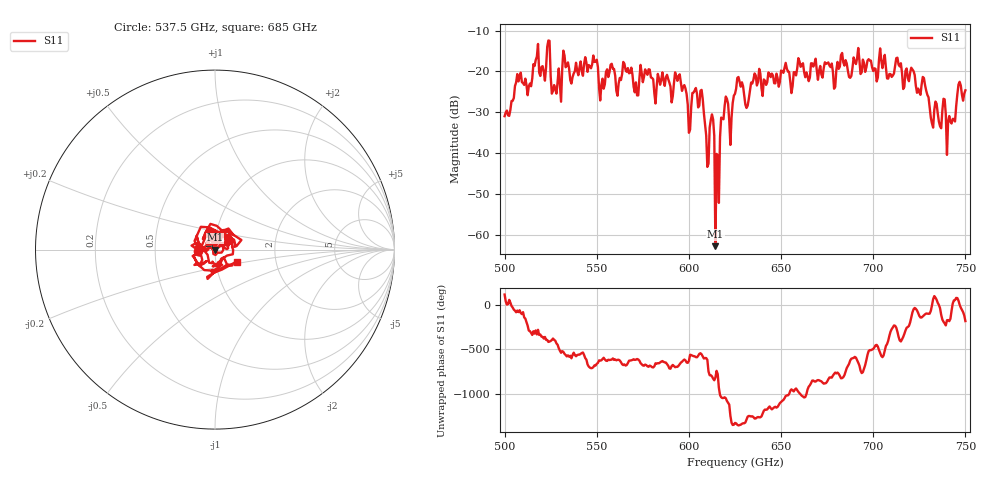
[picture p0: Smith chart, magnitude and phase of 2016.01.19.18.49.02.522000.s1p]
!Created with skrf (http://scikit-rf.org).
# GHz S RI R 50.0
!freq ReS11 ImS11
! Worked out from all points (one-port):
!   401 points, 500 GHz to 750 GHz, reference 50 ohm
!   lowest |S11| = -62.6 dB at 614.4 GHz (marker M1), VSWR 1.00, Z = 50 - j0.0731 ohm
!   |S11| at or under -10 dB: start of sweep to end of sweep
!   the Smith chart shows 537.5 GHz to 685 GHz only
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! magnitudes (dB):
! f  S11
! 500 GHz  -30.9
! 507.5 GHz  -22.4
! 513.8 GHz  -22.9
! 516.9 GHz  -17.2
! 523.8 GHz  -12.4
! 526.9 GHz  -23.3
! 531.2 GHz  -19.4
! 548.8 GHz  -17.7
! 552.5 GHz  -23.3
! 558.1 GHz  -18.1
! 562.5 GHz  -21.6
! 593.8 GHz  -22.3
! 600 GHz  -35.0
! 606.9 GHz  -24.5
! 610 GHz  -43.3
! 612.5 GHz  -30.5
! 614.4 GHz  -62.6
! 615.6 GHz  -40.5
! 618.8 GHz  -31.7
! 623.1 GHz  -31.2
! 625 GHz  -25.5
! 656.2 GHz  -23.6
! 660.6 GHz  -18.9
! 687.5 GHz  -21.6
! 718.8 GHz  -21.6
! 741.2 GHz  -30.9
! 746.2 GHz  -23.2
! 750 GHz  -24.6
